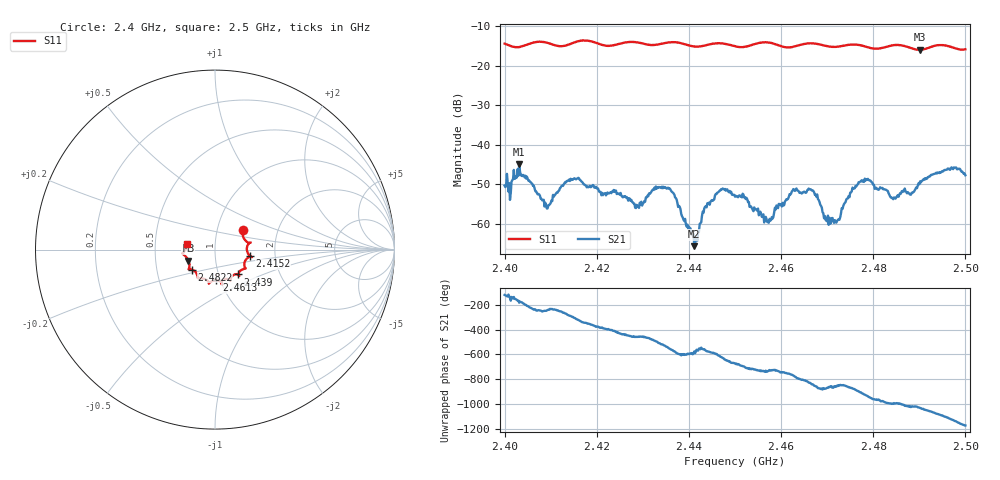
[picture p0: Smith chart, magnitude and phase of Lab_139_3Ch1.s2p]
# Hz S RI R 50
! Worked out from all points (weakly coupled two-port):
!   601 points, 2.4 GHz to 2.5 GHz, reference 50 ohm
!   highest |S21| = -44.93 dB at 2.4032 GHz (marker M1); lowest = -65.6 dB at 2.4412 GHz (marker M2)
!   lowest |S11| = -15.9 dB at 2.4902 GHz (marker M3), VSWR 1.38, Z = 36.9 - j4.61 ohm
!   |S11| at or under -10 dB: start of sweep to end of sweep
!   S12 and S22 are empty: the file has one direction only
!   S11 on the Smith chart (normalised r, x): 2.4 GHz: 1.33, +0.31; 2.4152 GHz: 1.48, -0.11; 2.439 GHz: 1.24, -0.36; 2.4613 GHz: 0.96, -0.34; 2.4822 GHz: 0.76, -0.17; 2.5 GHz: 0.73, +0.05
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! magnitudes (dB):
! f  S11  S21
! 2.4 GHz  -14.4  -50.3
! 2.4032 GHz  -15.2  -44.9
! 2.4092 GHz  -14.1  -56.1
! 2.4152 GHz  -14.1  -48.4
! 2.4167 GHz  -13.6  -49.2
! 2.4287 GHz  -14.0  -55.2
! 2.4333 GHz  -14.6  -50.8
! 2.4363 GHz  -14.0  -51.9
! 2.439 GHz  -14.5  -59.3
! 2.4412 GHz  -15.1  -65.6
! 2.4462 GHz  -14.3  -52.1
! 2.45 GHz  -15.0  -53.1
! 2.4573 GHz  -14.1  -59.7
! 2.4613 GHz  -15.3  -53.8
! 2.4667 GHz  -14.3  -51.5
! 2.4698 GHz  -15.0  -59.2
! 2.4718 GHz  -15.2  -59.5
! 2.477 GHz  -14.7  -49.4
! 2.4822 GHz  -15.4  -51.2
! 2.4833 GHz  -15.0  -52.2
! 2.4902 GHz  -15.9  -49.2
! 2.5 GHz  -15.8  -47.7
